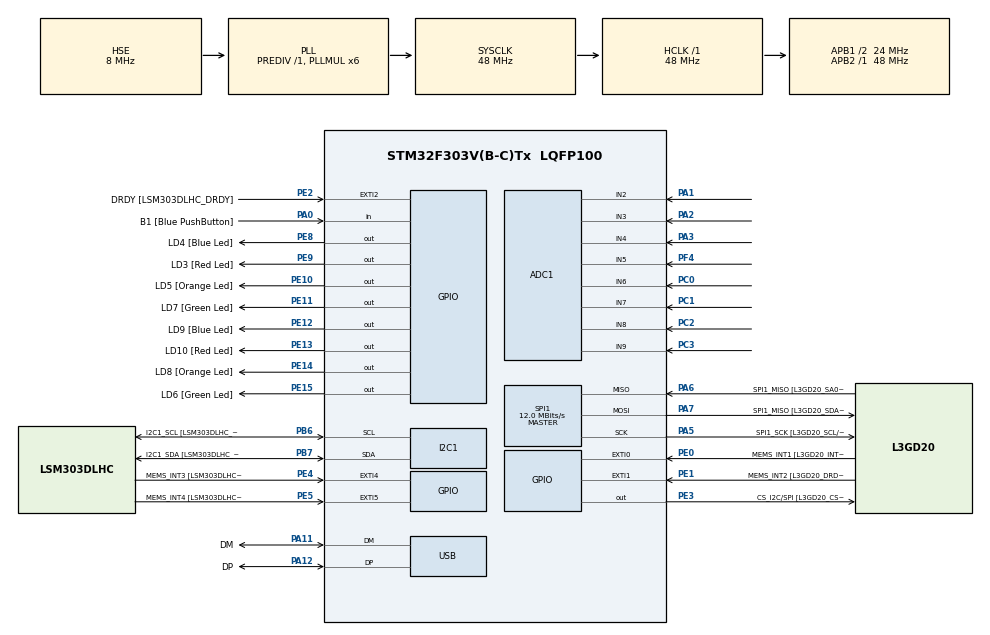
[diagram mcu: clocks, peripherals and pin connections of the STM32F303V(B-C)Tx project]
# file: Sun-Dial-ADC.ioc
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ADC1.Channel-0\#ChannelRegularConversion=ADC_CHANNEL_2
ADC1.Channel-1\#ChannelRegularConversion=ADC_CHANNEL_3
ADC1.Channel-2\#ChannelRegularConversion=ADC_CHANNEL_4
ADC1.Channel-3\#ChannelRegularConversion=ADC_CHANNEL_5
ADC1.Channel-4\#ChannelRegularConversion=ADC_CHANNEL_6
ADC1.Channel-5\#ChannelRegularConversion=ADC_CHANNEL_7
ADC1.Channel-6\#ChannelRegularConversion=ADC_CHANNEL_8
ADC1.Channel-7\#ChannelRegularConversion=ADC_CHANNEL_9
ADC1.ContinuousConvMode=ENABLE
ADC1.NbrOfConversion=8
ADC1.NbrOfConversionFlag=1
ADC1.Offset-0\#ChannelRegularConversion=0
ADC1.Offset-1\#ChannelRegularConversion=0
ADC1.Offset-2\#ChannelRegularConversion=0
ADC1.Offset-3\#ChannelRegularConversion=0
ADC1.Offset-4\#ChannelRegularConversion=0
ADC1.Offset-5\#ChannelRegularConversion=0
ADC1.Offset-6\#ChannelRegularConversion=0
ADC1.Offset-7\#ChannelRegularConversion=0
ADC1.OffsetNumber-0\#ChannelRegularConversion=ADC_OFFSET_NONE
ADC1.OffsetNumber-1\#ChannelRegularConversion=ADC_OFFSET_NONE
ADC1.OffsetNumber-2\#ChannelRegularConversion=ADC_OFFSET_NONE
ADC1.OffsetNumber-3\#ChannelRegularConversion=ADC_OFFSET_NONE
ADC1.OffsetNumber-4\#ChannelRegularConversion=ADC_OFFSET_NONE
ADC1.OffsetNumber-5\#ChannelRegularConversion=ADC_OFFSET_NONE
ADC1.OffsetNumber-6\#ChannelRegularConversion=ADC_OFFSET_NONE
ADC1.OffsetNumber-7\#ChannelRegularConversion=ADC_OFFSET_NONE
ADC1.Rank-0\#ChannelRegularConversion=1
ADC1.Rank-1\#ChannelRegularConversion=2
ADC1.Rank-2\#ChannelRegularConversion=3
ADC1.Rank-3\#ChannelRegularConversion=4
ADC1.Rank-4\#ChannelRegularConversion=5
ADC1.Rank-5\#ChannelRegularConversion=6
ADC1.Rank-6\#ChannelRegularConversion=7
ADC1.Rank-7\#ChannelRegularConversion=8
ADC1.SamplingTime-0\#ChannelRegularConversion=ADC_SAMPLETIME_1CYCLE_5
ADC1.SamplingTime-1\#ChannelRegularConversion=ADC_SAMPLETIME_1CYCLE_5
ADC1.SamplingTime-2\#ChannelRegularConversion=ADC_SAMPLETIME_1CYCLE_5
ADC1.SamplingTime-3\#ChannelRegularConversion=ADC_SAMPLETIME_1CYCLE_5
ADC1.SamplingTime-4\#ChannelRegularConversion=ADC_SAMPLETIME_1CYCLE_5
ADC1.SamplingTime-5\#ChannelRegularConversion=ADC_SAMPLETIME_1CYCLE_5
ADC1.SamplingTime-6\#ChannelRegularConversion=ADC_SAMPLETIME_1CYCLE_5
ADC1.SamplingTime-7\#ChannelRegularConversion=ADC_SAMPLETIME_1CYCLE_5
ADC1.SamplingTimeOPAMP-1\#ChannelRegularConversion=ADC_SAMPLETIME_19CYCLES_5
ADC1.SamplingTimeOPAMP-2\#ChannelRegularConversion=ADC_SAMPLETIME_19CYCLES_5
ADC1.SamplingTimeOPAMP-3\#ChannelRegularConversion=ADC_SAMPLETIME_19CYCLES_5
ADC1.SamplingTimeOPAMP-4\#ChannelRegularConversion=ADC_SAMPLETIME_19CYCLES_5
ADC1.SamplingTimeOPAMP-5\#ChannelRegularConversion=ADC_SAMPLETIME_19CYCLES_5
ADC1.SamplingTimeOPAMP-6\#ChannelRegularConversion=ADC_SAMPLETIME_19CYCLES_5
ADC1.SamplingTimeOPAMP-7\#ChannelRegularConversion=ADC_SAMPLETIME_19CYCLES_5
ADC1.master=1
I2C1.Timing=0x2000090E
I2C1.Timing-I2C=0x2000090E
Mcu.Family=STM32F3
Mcu.Name=STM32F303V(B-C)Tx
Mcu.Package=LQFP100
NVIC.PriorityGroup=NVIC_PRIORITYGROUP_0
PA0.GPIO_Label=B1 [Blue PushButton]
PA0.Signal=GPIO_Input
PA1.Mode=IN2-Single-Ended
PA1.Signal=ADC1_IN2
PA11.GPIO_Label=DM
PA11.Mode=Device
PA11.Signal=USB_DM
PA12.GPIO_Label=DP
PA12.Mode=Device
PA12.Signal=USB_DP
PA13.GPIO_Label=SWDIO
PA13.Mode=Serial_Wire
PA13.Signal=SYS_JTMS-SWDIO
PA14.GPIO_Label=SWCLK
PA14.Mode=Serial_Wire
PA14.Signal=SYS_JTCK-SWCLK
PA2.Mode=IN3-Single-Ended
PA2.Signal=ADC1_IN3
PA3.Mode=IN4-Single-Ended
PA3.Signal=ADC1_IN4
PA5.GPIO_Label=SPI1_SCK [L3GD20_SCL/SPC]
PA5.Mode=Full_Duplex_Master
PA5.Signal=SPI1_SCK
PA6.GPIO_Label=SPI1_MISO [L3GD20_SA0/SDO]
PA6.Mode=Full_Duplex_Master
PA6.Signal=SPI1_MISO
PA7.GPIO_Label=SPI1_MISO [L3GD20_SDA/SDI/SDO]
PA7.Mode=Full_Duplex_Master
PA7.Signal=SPI1_MOSI
PB3.GPIO_Label=SWO
PB3.Signal=SYS_JTDO-TRACESWO
PB6.GPIO_Label=I2C1_SCL [LSM303DLHC_SCL]
PB6.GPIO_Pu=GPIO_PULLUP
PB6.Mode=I2C
PB6.Signal=I2C1_SCL
PB7.GPIO_Label=I2C1_SDA [LSM303DLHC_SDA]
PB7.GPIO_Pu=GPIO_PULLUP
PB7.Mode=I2C
PB7.Signal=I2C1_SDA
PC0.Signal=ADCx_IN6
PC1.Signal=ADCx_IN7
PC14-OSC32_IN.GPIO_Label=OSC32_IN
PC14-OSC32_IN.Signal=RCC_OSC32_IN
PC15-OSC32_OUT.GPIO_Label=OSC32_OUT
PC15-OSC32_OUT.Signal=RCC_OSC32_OUT
PC2.Signal=ADCx_IN8
PC3.Signal=ADCx_IN9
PE0.GPIO_Label=MEMS_INT1 [L3GD20_INT1]
PE0.GPIO_ModeDefaultEXTI=GPIO_MODE_EVT_RISING
PE0.Signal=GPXTI0
PE1.GPIO_Label=MEMS_INT2 [L3GD20_DRDY/INT2]
PE1.GPIO_ModeDefaultEXTI=GPIO_MODE_EVT_RISING
PE1.Signal=GPXTI1
PE10.GPIO_Label=LD5 [Orange Led]
PE10.Signal=GPIO_Output
PE11.GPIO_Label=LD7 [Green Led]
PE11.Signal=GPIO_Output
PE12.GPIO_Label=LD9 [Blue Led]
PE12.Signal=GPIO_Output
PE13.GPIO_Label=LD10 [Red Led]
PE13.Signal=GPIO_Output
PE14.GPIO_Label=LD8 [Orange Led]
PE14.Signal=GPIO_Output
PE15.GPIO_Label=LD6 [Green Led]
PE15.Signal=GPIO_Output
PE2.GPIO_Label=DRDY [LSM303DLHC_DRDY]
PE2.GPIO_ModeDefaultEXTI=GPIO_MODE_EVT_RISING
PE2.Signal=GPXTI2
PE3.GPIO_Label=CS_I2C/SPI [L3GD20_CS_I2C/SPI]
PE3.Signal=GPIO_Output
PE4.GPIO_Label=MEMS_INT3 [LSM303DLHC_INT1]
PE4.GPIO_ModeDefaultEXTI=GPIO_MODE_EVT_RISING
PE4.Signal=GPXTI4
PE5.GPIO_Label=MEMS_INT4 [LSM303DLHC_INT2]
PE5.GPIO_ModeDefaultEXTI=GPIO_MODE_EVT_RISING
PE5.Signal=GPXTI5
PE8.GPIO_Label=LD4 [Blue Led]
PE8.Signal=GPIO_Output
PE9.GPIO_Label=LD3 [Red Led]
PE9.Signal=GPIO_Output
PF0-OSC_IN.GPIO_Label=OSC_IN
PF0-OSC_IN.Mode=HSE-External-Clock-Source
PF0-OSC_IN.Signal=RCC_OSC_IN
PF1-OSC_OUT.GPIO_Label=OSC_OUT
PF1-OSC_OUT.Signal=RCC_OSC_OUT
PF4.Mode=IN5-Single-Ended
PF4.Signal=ADC1_IN5
ProjectManager.HeapSize=0x200
ProjectManager.StackSize=0x400
ProjectManager.TargetToolchain=STM32CubeIDE
RCC.AHBFreq_Value=48000000
RCC.APB1CLKDivider=RCC_HCLK_DIV2
RCC.APB1Freq_Value=24000000
RCC.APB1TimFreq_Value=48000000
RCC.APB2Freq_Value=48000000
RCC.APB2TimFreq_Value=48000000
RCC.CortexFreq_Value=48000000
RCC.HCLKFreq_Value=48000000
RCC.HSE_VALUE=8000000
RCC.HSI_VALUE=8000000
RCC.LSE_VALUE=32768
RCC.PLLMUL=RCC_PLL_MUL6
RCC.SYSCLKFreq_VALUE=48000000
RCC.SYSCLKSourceVirtual=RCC_SYSCLKSOURCE_PLLCLK
RCC.USBFreq_Value=48000000
SH.ADCx_IN6.0=ADC1_IN6,IN6-Single-Ended
SH.ADCx_IN7.0=ADC1_IN7,IN7-Single-Ended
SH.ADCx_IN8.0=ADC1_IN8,IN8-Single-Ended
SH.ADCx_IN9.0=ADC1_IN9,IN9-Single-Ended
SPI1.BaudRatePrescaler=SPI_BAUDRATEPRESCALER_4
SPI1.BaudRatePrescaler-Full_Duplex_Master=SPI_BAUDRATEPRESCALER_2
SPI1.CalculateBaudRate=12.0 MBits/s
SPI1.CalculateBaudRate-Full_Duplex_Master=24.0 MBits/s
SPI1.Direction=SPI_DIRECTION_2LINES
SPI1.Mode=SPI_MODE_MASTER
SPI1.Mode-Full_Duplex_Master=SPI_MODE_MASTER
SPI1.VirtualType=VM_MASTER
board=STM32F3DISCOVERY

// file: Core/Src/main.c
/* USER CODE BEGIN Header */
/**
  ******************************************************************************
  * @file           : main.c
  * @brief          : Main program body
  ******************************************************************************
  * @attention
  *
  * Copyright (c) 2023 STMicroelectronics.
  * All rights reserved.
  *
  * This software is licensed under terms that can be found in the LICENSE file
  * in the root directory of this software component.
  * If no LICENSE file comes with this software, it is provided AS-IS.
  *
  ******************************************************************************
  */
/* USER CODE END Header */
#include "main.h"

/* USER CODE BEGIN Includes */
#include <stdint.h>
#include "stdio.h"
#include "stm32f303xc.h"
/* USER CODE END Includes */

ADC_HandleTypeDef hadc1;

I2C_HandleTypeDef hi2c1;

SPI_HandleTypeDef hspi1;

PCD_HandleTypeDef hpcd_USB_FS;

void SystemClock_Config(void);
static void MX_GPIO_Init(void);
static void MX_I2C1_Init(void);
static void MX_SPI1_Init(void);
static void MX_USB_PCD_Init(void);
static void MX_ADC1_Init(void);

/* USER CODE BEGIN 0 */

	//define sConfig struct type to be used in ADC_select functions
	ADC_ChannelConfTypeDef sConfig = {0};

void enable_clocks() {

	RCC->AHBENR |= RCC_AHBENR_GPIOAEN | RCC_AHBENR_GPIOCEN | RCC_AHBENR_GPIOEEN;
}

void initialise_board() {

	// get a pointer to the second half word of the MODER register (for outputs pe8-15)
	uint16_t *led_output_registers = ((uint16_t *)&(GPIOE->MODER)) + 1;
	*led_output_registers = 0x5555;
}

void ADC_select_CH2 (void){
	sConfig.Channel = ADC_CHANNEL_2;
	sConfig.Rank = ADC_REGULAR_RANK_1;
	sConfig.SingleDiff = ADC_SINGLE_ENDED;
	sConfig.SamplingTime = ADC_SAMPLETIME_1CYCLE_5;
	sConfig.OffsetNumber = ADC_OFFSET_NONE;
	sConfig.Offset = 0;
	if (HAL_ADC_ConfigChannel(&hadc1, &sConfig) != HAL_OK)
	{
	  Error_Handler();
	}
}

void ADC_select_CH3 (void){
	sConfig.Channel = ADC_CHANNEL_3;
	sConfig.Rank = ADC_REGULAR_RANK_1;
	sConfig.SingleDiff = ADC_SINGLE_ENDED;
	sConfig.SamplingTime = ADC_SAMPLETIME_1CYCLE_5;
	sConfig.OffsetNumber = ADC_OFFSET_NONE;
	sConfig.Offset = 0;
	if (HAL_ADC_ConfigChannel(&hadc1, &sConfig) != HAL_OK)
	{
	  Error_Handler();
	}
}

void ADC_select_CH4 (void){
	sConfig.Channel = ADC_CHANNEL_4;
	sConfig.Rank = ADC_REGULAR_RANK_1;
	sConfig.SingleDiff = ADC_SINGLE_ENDED;
	sConfig.SamplingTime = ADC_SAMPLETIME_1CYCLE_5;
	sConfig.OffsetNumber = ADC_OFFSET_NONE;
	sConfig.Offset = 0;
	if (HAL_ADC_ConfigChannel(&hadc1, &sConfig) != HAL_OK)
	{
	  Error_Handler();
	}
}

void ADC_select_CH5 (void){
	sConfig.Channel = ADC_CHANNEL_5;
	sConfig.Rank = ADC_REGULAR_RANK_1;
	sConfig.SingleDiff = ADC_SINGLE_ENDED;
	sConfig.SamplingTime = ADC_SAMPLETIME_1CYCLE_5;
	sConfig.OffsetNumber = ADC_OFFSET_NONE;
	sConfig.Offset = 0;
	if (HAL_ADC_ConfigChannel(&hadc1, &sConfig) != HAL_OK)
	{
	  Error_Handler();
	}
}

void ADC_select_CH6 (void){
	sConfig.Channel = ADC_CHANNEL_6;
	sConfig.Rank = ADC_REGULAR_RANK_1;
	sConfig.SingleDiff = ADC_SINGLE_ENDED;
	sConfig.SamplingTime = ADC_SAMPLETIME_1CYCLE_5;
	sConfig.OffsetNumber = ADC_OFFSET_NONE;
	sConfig.Offset = 0;
	if (HAL_ADC_ConfigChannel(&hadc1, &sConfig) != HAL_OK)
	{
	  Error_Handler();
	}
}

void ADC_select_CH7 (void){
	sConfig.Channel = ADC_CHANNEL_7;
	sConfig.Rank = ADC_REGULAR_RANK_1;
	sConfig.SingleDiff = ADC_SINGLE_ENDED;
	sConfig.SamplingTime = ADC_SAMPLETIME_1CYCLE_5;
	sConfig.OffsetNumber = ADC_OFFSET_NONE;
	sConfig.Offset = 0;
	if (HAL_ADC_ConfigChannel(&hadc1, &sConfig) != HAL_OK)
	{
	  Error_Handler();
	}
}

void ADC_select_CH8 (void){
	sConfig.Channel = ADC_CHANNEL_8;
	sConfig.Rank = ADC_REGULAR_RANK_1;
	sConfig.SingleDiff = ADC_SINGLE_ENDED;
	sConfig.SamplingTime = ADC_SAMPLETIME_1CYCLE_5;
	sConfig.OffsetNumber = ADC_OFFSET_NONE;
	sConfig.Offset = 0;
	if (HAL_ADC_ConfigChannel(&hadc1, &sConfig) != HAL_OK)
	{
	  Error_Handler();
	}
}

void ADC_select_CH9 (void){
	sConfig.Channel = ADC_CHANNEL_9;
	sConfig.Rank = ADC_REGULAR_RANK_1;
	sConfig.SingleDiff = ADC_SINGLE_ENDED;
	sConfig.SamplingTime = ADC_SAMPLETIME_1CYCLE_5;
	sConfig.OffsetNumber = ADC_OFFSET_NONE;
	sConfig.Offset = 0;
	if (HAL_ADC_ConfigChannel(&hadc1, &sConfig) != HAL_OK)
	{
	  Error_Handler();
	}
}

/* USER CODE END 0 */

int main(void)
{
  /* USER CODE BEGIN 1 */
	enable_clocks();
	initialise_board();

	uint8_t *led_register = ((uint8_t*)&(GPIOE->ODR)) + 1;
	*led_register = 0b10101010;
  /* USER CODE END 1 */

  /* MCU Configuration--------------------------------------------------------*/

  /* Reset of all peripherals, Initializes the Flash interface and the Systick. */
  HAL_Init();

  /* Configure the system clock */
  SystemClock_Config();

  /* Initialize all configured peripherals */
  MX_GPIO_Init();
  MX_I2C1_Init();
  MX_SPI1_Init();
  MX_USB_PCD_Init();
  MX_ADC1_Init();
  /* USER CODE BEGIN 2 */

  // array of functions to select LDR channels
  void (*LDRChannels[8])() = {
		  &ADC_select_CH2,
		  &ADC_select_CH3,
		  &ADC_select_CH4,
		  &ADC_select_CH5,
		  &ADC_select_CH6,
		  &ADC_select_CH7,
		  &ADC_select_CH8,
		  &ADC_select_CH9
  };

  // Array to record LDR status
  int LDRs[] = {0, 0, 0, 0, 0, 0, 0, 0};

  /* USER CODE END 2 */

  /* Infinite loop */
  /* USER CODE BEGIN WHILE */

  // calibrate ADC1
  HAL_ADCEx_Calibration_Start(&hadc1, ADC_SINGLE_ENDED);

  while (1)
  {

	// Poll each LED in sequence
	for (int i = 0; i < 8; i++){
		LDRChannels[i]();
		HAL_ADC_Start(&hadc1);
		HAL_ADC_PollForConversion(&hadc1, 1000);
		int ADC_val = HAL_ADC_GetValue(&hadc1);
		HAL_ADC_Stop(&hadc1);

		// read the value from ADC, full range is 12 bits
		uint8_t scale = ADC_val / (0xfff / 8);  // divide the scale into 8 even partitions (for 8 leds)

		// Mark LED to be triggered
		if (scale > 2) {
			LDRs[i] = 1;
		} else {
			LDRs[i] = 0;
		}
	}

	// activate all LEDs
	for (int i = 0; i < 8; i++){
		if (LDRs[i] == 1){
			*led_register = pow(2, i);
		}
	}
    /* USER CODE END WHILE */

  }
}

void SystemClock_Config(void)
{
  RCC_OscInitTypeDef RCC_OscInitStruct = {0};
  RCC_ClkInitTypeDef RCC_ClkInitStruct = {0};
  RCC_PeriphCLKInitTypeDef PeriphClkInit = {0};

  /** Initializes the RCC Oscillators according to the specified parameters
  * in the RCC_OscInitTypeDef structure.
  */
  RCC_OscInitStruct.OscillatorType = RCC_OSCILLATORTYPE_HSI|RCC_OSCILLATORTYPE_HSE;
  RCC_OscInitStruct.HSEState = RCC_HSE_BYPASS;
  RCC_OscInitStruct.HSEPredivValue = RCC_HSE_PREDIV_DIV1;
  RCC_OscInitStruct.HSIState = RCC_HSI_ON;
  RCC_OscInitStruct.HSICalibrationValue = RCC_HSICALIBRATION_DEFAULT;
  RCC_OscInitStruct.PLL.PLLState = RCC_PLL_ON;
  RCC_OscInitStruct.PLL.PLLSource = RCC_PLLSOURCE_HSE;
  RCC_OscInitStruct.PLL.PLLMUL = RCC_PLL_MUL6;
  if (HAL_RCC_OscConfig(&RCC_OscInitStruct) != HAL_OK)
  {
    Error_Handler();
  }

  /** Initializes the CPU, AHB and APB buses clocks
  */
  RCC_ClkInitStruct.ClockType = RCC_CLOCKTYPE_HCLK|RCC_CLOCKTYPE_SYSCLK
                              |RCC_CLOCKTYPE_PCLK1|RCC_CLOCKTYPE_PCLK2;
  RCC_ClkInitStruct.SYSCLKSource = RCC_SYSCLKSOURCE_PLLCLK;
  RCC_ClkInitStruct.AHBCLKDivider = RCC_SYSCLK_DIV1;
  RCC_ClkInitStruct.APB1CLKDivider = RCC_HCLK_DIV2;
  RCC_ClkInitStruct.APB2CLKDivider = RCC_HCLK_DIV1;

  if (HAL_RCC_ClockConfig(&RCC_ClkInitStruct, FLASH_LATENCY_1) != HAL_OK)
  {
    Error_Handler();
  }
  PeriphClkInit.PeriphClockSelection = RCC_PERIPHCLK_USB|RCC_PERIPHCLK_I2C1
                              |RCC_PERIPHCLK_ADC12;
  PeriphClkInit.Adc12ClockSelection = RCC_ADC12PLLCLK_DIV1;
  PeriphClkInit.I2c1ClockSelection = RCC_I2C1CLKSOURCE_HSI;
  PeriphClkInit.USBClockSelection = RCC_USBCLKSOURCE_PLL;
  if (HAL_RCCEx_PeriphCLKConfig(&PeriphClkInit) != HAL_OK)
  {
    Error_Handler();
  }
}

static void MX_ADC1_Init(void)
{

  ADC_MultiModeTypeDef multimode = {0};

  /** Common config
  */
  hadc1.Instance = ADC1;
  hadc1.Init.ClockPrescaler = ADC_CLOCK_ASYNC_DIV1;
  hadc1.Init.Resolution = ADC_RESOLUTION_12B;
  hadc1.Init.ScanConvMode = ADC_SCAN_ENABLE;
  hadc1.Init.ContinuousConvMode = ENABLE;
  hadc1.Init.DiscontinuousConvMode = DISABLE;
  hadc1.Init.ExternalTrigConvEdge = ADC_EXTERNALTRIGCONVEDGE_NONE;
  hadc1.Init.ExternalTrigConv = ADC_SOFTWARE_START;
  hadc1.Init.DataAlign = ADC_DATAALIGN_RIGHT;
  hadc1.Init.NbrOfConversion = 1;
  hadc1.Init.DMAContinuousRequests = DISABLE;
  hadc1.Init.EOCSelection = ADC_EOC_SINGLE_CONV;
  hadc1.Init.LowPowerAutoWait = DISABLE;
  hadc1.Init.Overrun = ADC_OVR_DATA_OVERWRITTEN;
  if (HAL_ADC_Init(&hadc1) != HAL_OK)
  {
    Error_Handler();
  }

  /** Configure the ADC multi-mode
  */
  multimode.Mode = ADC_MODE_INDEPENDENT;
  if (HAL_ADCEx_MultiModeConfigChannel(&hadc1, &multimode) != HAL_OK)
  {
    Error_Handler();
  }

// COMMENTED OUT TO MAKE CUSTIOM CONFIGURATION METHODS - SEE ADC_select_CHx() FUNCTIONS!
//
//  /** Configure Regular Channel
//  */
//  sConfig.Channel = ADC_CHANNEL_2;
//  sConfig.Rank = ADC_REGULAR_RANK_1;
//  sConfig.SingleDiff = ADC_SINGLE_ENDED;
//  sConfig.SamplingTime = ADC_SAMPLETIME_1CYCLE_5;
//  sConfig.OffsetNumber = ADC_OFFSET_NONE;
//  sConfig.Offset = 0;
//  if (HAL_ADC_ConfigChannel(&hadc1, &sConfig) != HAL_OK)
//  {
//    Error_Handler();
//  }
//
//  /** Configure Regular Channel
//  */
//  sConfig.Channel = ADC_CHANNEL_3;
//  sConfig.Rank = ADC_REGULAR_RANK_2;
//  if (HAL_ADC_ConfigChannel(&hadc1, &sConfig) != HAL_OK)
//  {
//    Error_Handler();
//  }
//
//  /** Configure Regular Channel
//  */
//  sConfig.Channel = ADC_CHANNEL_4;
//  sConfig.Rank = ADC_REGULAR_RANK_3;
//  if (HAL_ADC_ConfigChannel(&hadc1, &sConfig) != HAL_OK)
//  {
//    Error_Handler();
//  }
//
//  /** Configure Regular Channel
//  */
//  sConfig.Channel = ADC_CHANNEL_5;
//  sConfig.Rank = ADC_REGULAR_RANK_4;
//  if (HAL_ADC_ConfigChannel(&hadc1, &sConfig) != HAL_OK)
//  {
//    Error_Handler();
//  }
//
//  /** Configure Regular Channel
//  */
//  sConfig.Channel = ADC_CHANNEL_6;
//  sConfig.Rank = ADC_REGULAR_RANK_5;
//  if (HAL_ADC_ConfigChannel(&hadc1, &sConfig) != HAL_OK)
//  {
//    Error_Handler();
//  }
//
//  /** Configure Regular Channel
//  */
//  sConfig.Channel = ADC_CHANNEL_7;
//  sConfig.Rank = ADC_REGULAR_RANK_6;
//  if (HAL_ADC_ConfigChannel(&hadc1, &sConfig) != HAL_OK)
//  {
//    Error_Handler();
//  }
//
//  /** Configure Regular Channel
//  */
//  sConfig.Channel = ADC_CHANNEL_8;
//  sConfig.Rank = ADC_REGULAR_RANK_7;
//  if (HAL_ADC_ConfigChannel(&hadc1, &sConfig) != HAL_OK)
//  {
//    Error_Handler();
//  }
//
//  /** Configure Regular Channel
//  */
//  sConfig.Channel = ADC_CHANNEL_9;
//  sConfig.Rank = ADC_REGULAR_RANK_8;
//  if (HAL_ADC_ConfigChannel(&hadc1, &sConfig) != HAL_OK)
//  {
//    Error_Handler();
//  }

}

static void MX_I2C1_Init(void)
{

  hi2c1.Instance = I2C1;
  hi2c1.Init.Timing = 0x2000090E;
  hi2c1.Init.OwnAddress1 = 0;
  hi2c1.Init.AddressingMode = I2C_ADDRESSINGMODE_7BIT;
  hi2c1.Init.DualAddressMode = I2C_DUALADDRESS_DISABLE;
  hi2c1.Init.OwnAddress2 = 0;
  hi2c1.Init.OwnAddress2Masks = I2C_OA2_NOMASK;
  hi2c1.Init.GeneralCallMode = I2C_GENERALCALL_DISABLE;
  hi2c1.Init.NoStretchMode = I2C_NOSTRETCH_DISABLE;
  if (HAL_I2C_Init(&hi2c1) != HAL_OK)
  {
    Error_Handler();
  }

  /** Configure Analogue filter
  */
  if (HAL_I2CEx_ConfigAnalogFilter(&hi2c1, I2C_ANALOGFILTER_ENABLE) != HAL_OK)
  {
    Error_Handler();
  }

  /** Configure Digital filter
  */
  if (HAL_I2CEx_ConfigDigitalFilter(&hi2c1, 0) != HAL_OK)
  {
    Error_Handler();
  }

}

static void MX_SPI1_Init(void)
{

  /* SPI1 parameter configuration*/
  hspi1.Instance = SPI1;
  hspi1.Init.Mode = SPI_MODE_MASTER;
  hspi1.Init.Direction = SPI_DIRECTION_2LINES;
  hspi1.Init.DataSize = SPI_DATASIZE_4BIT;
  hspi1.Init.CLKPolarity = SPI_POLARITY_LOW;
  hspi1.Init.CLKPhase = SPI_PHASE_1EDGE;
  hspi1.Init.NSS = SPI_NSS_SOFT;
  hspi1.Init.BaudRatePrescaler = SPI_BAUDRATEPRESCALER_4;
  hspi1.Init.FirstBit = SPI_FIRSTBIT_MSB;
  hspi1.Init.TIMode = SPI_TIMODE_DISABLE;
  hspi1.Init.CRCCalculation = SPI_CRCCALCULATION_DISABLE;
  hspi1.Init.CRCPolynomial = 7;
  hspi1.Init.CRCLength = SPI_CRC_LENGTH_DATASIZE;
  hspi1.Init.NSSPMode = SPI_NSS_PULSE_ENABLE;
  if (HAL_SPI_Init(&hspi1) != HAL_OK)
  {
    Error_Handler();
  }

}

static void MX_USB_PCD_Init(void)
{

  hpcd_USB_FS.Instance = USB;
  hpcd_USB_FS.Init.dev_endpoints = 8;
  hpcd_USB_FS.Init.speed = PCD_SPEED_FULL;
  hpcd_USB_FS.Init.phy_itface = PCD_PHY_EMBEDDED;
  hpcd_USB_FS.Init.low_power_enable = DISABLE;
  hpcd_USB_FS.Init.battery_charging_enable = DISABLE;
  if (HAL_PCD_Init(&hpcd_USB_FS) != HAL_OK)
  {
    Error_Handler();
  }

}

static void MX_GPIO_Init(void)
{
  GPIO_InitTypeDef GPIO_InitStruct = {0};

  /* GPIO Ports Clock Enable */
  __HAL_RCC_GPIOE_CLK_ENABLE();
  __HAL_RCC_GPIOC_CLK_ENABLE();
  __HAL_RCC_GPIOF_CLK_ENABLE();
  __HAL_RCC_GPIOA_CLK_ENABLE();
  __HAL_RCC_GPIOB_CLK_ENABLE();

  /*Configure GPIO pin Output Level */
  HAL_GPIO_WritePin(GPIOE, CS_I2C_SPI_Pin|LD4_Pin|LD3_Pin|LD5_Pin
                          |LD7_Pin|LD9_Pin|LD10_Pin|LD8_Pin
                          |LD6_Pin, GPIO_PIN_RESET);

  /*Configure GPIO pins : DRDY_Pin MEMS_INT3_Pin MEMS_INT4_Pin MEMS_INT1_Pin
                           MEMS_INT2_Pin */
  GPIO_InitStruct.Pin = DRDY_Pin|MEMS_INT3_Pin|MEMS_INT4_Pin|MEMS_INT1_Pin
                          |MEMS_INT2_Pin;
  GPIO_InitStruct.Mode = GPIO_MODE_EVT_RISING;
  GPIO_InitStruct.Pull = GPIO_NOPULL;
  HAL_GPIO_Init(GPIOE, &GPIO_InitStruct);

  /*Configure GPIO pins : CS_I2C_SPI_Pin LD4_Pin LD3_Pin LD5_Pin
                           LD7_Pin LD9_Pin LD10_Pin LD8_Pin
                           LD6_Pin */
  GPIO_InitStruct.Pin = CS_I2C_SPI_Pin|LD4_Pin|LD3_Pin|LD5_Pin
                          |LD7_Pin|LD9_Pin|LD10_Pin|LD8_Pin
                          |LD6_Pin;
  GPIO_InitStruct.Mode = GPIO_MODE_OUTPUT_PP;
  GPIO_InitStruct.Pull = GPIO_NOPULL;
  GPIO_InitStruct.Speed = GPIO_SPEED_FREQ_LOW;
  HAL_GPIO_Init(GPIOE, &GPIO_InitStruct);

  /*Configure GPIO pin : B1_Pin */
  GPIO_InitStruct.Pin = B1_Pin;
  GPIO_InitStruct.Mode = GPIO_MODE_INPUT;
  GPIO_InitStruct.Pull = GPIO_NOPULL;
  HAL_GPIO_Init(B1_GPIO_Port, &GPIO_InitStruct);

}

void Error_Handler(void)
{
  __disable_irq();
  while (1)
  {
  }
}
